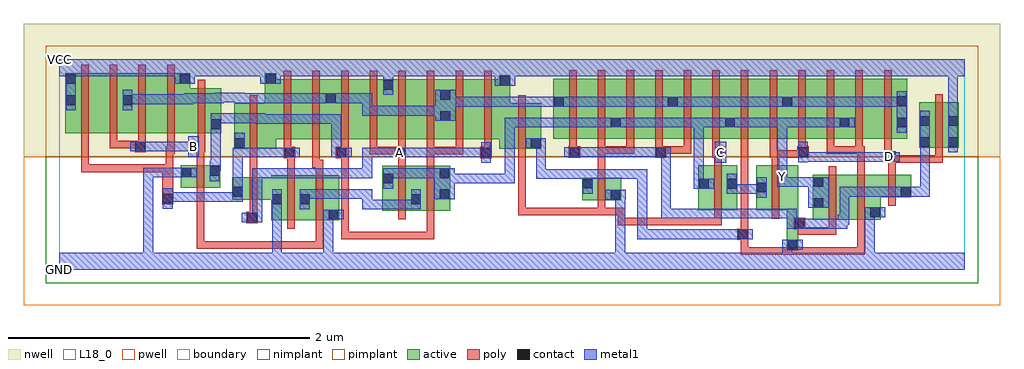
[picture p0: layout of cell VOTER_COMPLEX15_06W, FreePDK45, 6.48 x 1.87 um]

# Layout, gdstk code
import gdstk
lib = gdstk.Library(unit=1e-6, precision=1e-09)
def R(c, l, rs):  # rectangles x0, y0, x1, y1
    for r in rs: c.add(gdstk.rectangle(r[:2], r[2:], *l))
def A(c, l, x, y, w, h, nx, ny, dx, dy):  # array of equal rectangles
    R(c, l, [(x+i*dx, y+j*dy, x+i*dx+w, y+j*dy+h) for i in range(nx) for j in range(ny)])
active = (1, 0)
pwell = (2, 0)
nwell = (3, 0)
nimplant = (4, 0)
pimplant = (5, 0)
poly = (9, 0)
contact = (10, 0)
metal1 = (11, 0)
L18_0 = (18, 0)
boundary = (235, 0)

voter_complex15_06w = lib.new_cell('VOTER_COMPLEX15_06W')
A(voter_complex15_06w, active, 1.61, 0.867, 0.23, 0.4, 3, 1, 0.38, 0)
A(voter_complex15_06w, active, 1.765, 0.867, 0.225, 0.4, 3, 1, 0.38, 0)
A(voter_complex15_06w, active, 3.885, 0.87, 0.225, 0.4, 5, 1, 0.38, 0)
A(voter_complex15_06w, active, 4.035, 0.87, 0.075, 0.33, 3, 1, 0.76, 0)
A(voter_complex15_06w, active, 4.035, 0.87, 0.23, 0.4, 4, 1, 0.38, 0)
R(voter_complex15_06w, active, [(4.83,0.13,4.905,0.535), (1.407,0.33,1.667,0.63), (1.592,0.33,1.857,0.63), (1.592,0.33,1.667,0.507), (1.782,0.33,1.857,0.437), (5.002,0.332,5.227,0.632), (5.002,0.332,5.077,0.632), (5.227,0.332,5.452,0.632), (5.377,0.34,5.452,0.482), (2.145,0.392,2.405,0.692), (2.33,0.392,2.595,0.692), (1.407,0.395,1.482,0.597), (2.145,0.395,2.22,0.692), (2.33,0.395,2.405,0.597), (2.52,0.395,2.595,0.692), (4.242,0.395,4.317,0.695), (4.242,0.395,4.502,0.695), (4.427,0.395,4.502,0.695), (4.625,0.395,4.7,0.695), (4.625,0.395,4.905,0.695), (3.47,0.462,3.545,0.612), (3.47,0.462,3.73,0.612), (3.655,0.462,3.73,0.537), (1.147,0.465,1.482,0.615), (1.147,0.482,1.222,0.615), (5.377,0.482,5.657,0.632), (5.582,0.482,5.657,0.632), (0.807,0.545,0.882,0.695), (0.807,0.545,1.067,0.695), (0.992,0.545,1.067,0.695), (1.16,0.805,1.44,1.105), (1.16,0.805,1.235,0.917), (2.92,0.805,3.2,1.105), (3.125,0.805,3.2,0.917), (5.71,0.812,5.785,1.112), (5.71,0.812,5.97,1.112), (5.895,0.812,5.97,1.112), (1.365,0.867,1.61,1.267), (1.765,0.867,1.84,1.2), (2.525,0.867,2.6,1.2), (2.75,0.867,2.995,1.267), (3.28,0.87,3.505,1.27), (3.505,0.87,3.732,1.27), (3.657,0.87,3.732,1.07), (3.657,0.87,3.885,1.27), (4.415,0.87,4.49,1.07), (5.175,0.87,5.25,1.07), (0.04,0.907,0.265,1.307), (0.04,0.907,0.115,1.307), (0.265,0.907,0.49,1.307), (0.415,0.907,0.645,1.307), (0.415,0.907,0.49,1.2), (0.645,0.907,0.87,1.307), (0.795,0.907,1.075,1.207), (0.795,0.907,0.87,1.307), (1.365,0.907,1.44,1.307), (2.145,0.907,2.22,1.267), (2.92,0.907,2.995,1.292), (3.28,0.907,3.385,1.2), (1,0.93,1.075,1.07)])
R(voter_complex15_06w, pwell, [(-0.235,-0.235,6.245,0.75)])
R(voter_complex15_06w, nwell, [(-0.235,0.75,6.245,1.635)])
R(voter_complex15_06w, nimplant, [(-0.09,-0.09,6.1,0.75)])
R(voter_complex15_06w, pimplant, [(-0.09,0.75,6.1,1.49)])
A(voter_complex15_06w, poly, 1.87, 0.767, 0.05, 0.095, 6, 1, 0.19, 0)
A(voter_complex15_06w, poly, 3.385, 0.77, 0.05, 0.095, 6, 1, 0.19, 0)
A(voter_complex15_06w, poly, 4.905, 0.77, 0.05, 0.095, 3, 1, 0.19, 0)
A(voter_complex15_06w, poly, 1.49, 0.812, 0.05, 0.51, 8, 1, 0.19, 0)
A(voter_complex15_06w, poly, 3.385, 0.815, 0.05, 0.51, 12, 1, 0.19, 0)
A(voter_complex15_06w, poly, 0.145, 0.852, 0.05, 0.51, 4, 1, 0.19, 0)
R(voter_complex15_06w, poly, [(4.525,0.1,4.575,0.15), (4.525,0.1,4.575,0.15), (4.525,0.1,4.575,0.15), (4.525,0.1,4.575,0.15), (4.525,0.1,4.575,0.15), (4.525,0.1,4.795,0.15), (4.525,0.1,4.575,0.25), (4.745,0.1,4.795,0.15), (4.745,0.1,4.94,0.15), (4.89,0.1,4.94,0.15), (4.89,0.1,4.94,0.15), (4.89,0.1,4.94,0.15), (4.89,0.1,5.085,0.15), (5.035,0.1,5.085,0.15), (5.035,0.1,5.085,0.15), (5.035,0.1,5.085,0.15), (5.035,0.1,5.347,0.15), (5.297,0.1,5.347,0.15), (5.297,0.1,5.347,0.15), (5.297,0.1,5.347,0.15), (5.297,0.1,5.347,0.15), (5.297,0.1,5.347,0.15), (5.297,0.1,5.347,0.327), (0.912,0.142,0.962,0.192), (0.912,0.142,0.962,0.192), (0.912,0.142,0.962,0.192), (0.912,0.142,1.16,0.192), (0.912,0.142,0.962,0.54), (1.11,0.142,1.16,0.192), (1.11,0.142,1.16,0.192), (1.11,0.142,1.16,0.192), (1.11,0.142,1.16,0.192), (1.11,0.142,1.16,0.192), (1.11,0.142,1.567,0.192), (1.517,0.142,1.567,0.192), (1.517,0.142,1.567,0.192), (1.517,0.142,1.567,0.192), (1.517,0.142,1.752,0.192), (1.702,0.142,1.752,0.192), (1.702,0.142,1.752,0.192), (1.702,0.142,1.752,0.192), (1.702,0.142,1.752,0.325), (4.5,0.2,4.575,0.275), (1.87,0.205,1.92,0.255), (1.87,0.205,1.92,0.255), (1.87,0.205,1.92,0.255), (1.87,0.205,1.92,0.255), (1.87,0.205,1.92,0.255), (1.87,0.205,1.92,0.255), (1.87,0.205,1.92,0.255), (1.87,0.205,1.92,0.255), (1.87,0.205,1.92,0.255), (1.87,0.205,2.14,0.255), (1.87,0.205,1.92,0.792), (2.09,0.205,2.14,0.255), (2.09,0.205,2.14,0.255), (2.09,0.205,2.14,0.255), (2.09,0.205,2.357,0.255), (2.307,0.205,2.357,0.255), (2.307,0.205,2.357,0.255), (2.307,0.205,2.357,0.255), (2.307,0.205,2.49,0.255), (2.44,0.205,2.49,0.255), (2.44,0.205,2.49,0.387), (4.525,0.225,4.575,0.275), (4.525,0.225,4.575,0.275), (4.525,0.225,4.575,0.275), (4.525,0.225,4.575,0.275), (4.525,0.225,4.575,0.275), (4.525,0.225,4.575,0.275), (4.525,0.225,4.575,0.865), (4.902,0.232,4.952,0.282), (4.902,0.232,5.157,0.282), (4.902,0.232,4.952,0.32), (5.107,0.232,5.157,0.327), (5.107,0.232,5.157,0.282), (5.107,0.232,5.157,0.282), (5.107,0.232,5.157,0.282), (4.877,0.27,4.952,0.345), (4.902,0.27,4.952,0.32), (4.902,0.27,4.952,0.32), (1.512,0.275,1.562,0.685), (1.702,0.275,1.752,0.685), (5.107,0.277,5.157,0.687), (5.297,0.277,5.347,0.687), (3.707,0.295,3.757,0.345), (3.707,0.295,3.757,0.345), (3.707,0.295,3.757,0.345), (3.707,0.295,3.89,0.345), (3.707,0.295,3.757,0.412), (3.84,0.295,3.89,0.345), (3.84,0.295,4.162,0.345), (4.112,0.295,4.162,0.345), (4.112,0.295,4.162,0.345), (4.112,0.295,4.162,0.345), (4.112,0.295,4.397,0.345), (4.347,0.295,4.397,0.39), (4.347,0.295,4.397,0.345), (4.347,0.295,4.397,0.345), (4.347,0.295,4.397,0.345), (1.242,0.31,1.317,0.385), (1.265,0.335,1.315,0.46), (2.25,0.337,2.3,0.747), (2.44,0.337,2.49,0.747), (4.347,0.34,4.397,0.75), (4.73,0.34,4.78,0.75), (3.045,0.362,3.095,0.412), (3.045,0.362,3.095,0.412), (3.045,0.362,3.095,0.412), (3.045,0.362,3.095,0.412), (3.045,0.362,3.095,0.412), (3.045,0.362,3.095,0.412), (3.045,0.362,3.095,0.412), (3.045,0.362,3.227,0.412), (3.045,0.362,3.095,0.8), (3.177,0.362,3.227,0.412), (3.177,0.362,3.227,0.412), (3.177,0.362,3.227,0.412), (3.177,0.362,3.227,0.412), (3.177,0.362,3.227,0.412), (3.177,0.362,3.36,0.412), (3.31,0.362,3.36,0.412), (3.31,0.362,3.625,0.412), (3.575,0.362,3.625,0.457), (3.575,0.362,3.625,0.412), (3.575,0.362,3.625,0.412), (3.575,0.362,3.625,0.412), (3.575,0.362,3.757,0.412), (3.707,0.362,3.757,0.412), (3.575,0.407,3.625,0.667), (1.265,0.41,1.315,0.67), (5.502,0.427,5.552,0.687), (0.682,0.437,0.757,0.7), (0.912,0.49,0.962,0.75), (3.575,0.617,3.625,0.82), (1.265,0.62,1.315,0.755), (1.512,0.635,1.562,0.792), (1.702,0.635,1.752,0.73), (5.297,0.637,5.347,0.82), (5.502,0.637,5.552,0.762), (0.145,0.65,0.195,0.7), (0.145,0.65,0.195,0.7), (0.145,0.65,0.195,0.7), (0.145,0.65,0.195,0.7), (0.145,0.65,0.195,0.7), (0.145,0.65,0.195,0.7), (0.145,0.65,0.195,0.7), (0.145,0.65,0.385,0.7), (0.145,0.65,0.195,0.902), (0.335,0.65,0.385,0.7), (0.335,0.65,0.385,0.7), (0.335,0.65,0.385,0.7), (0.335,0.65,0.517,0.7), (0.467,0.65,0.517,0.7), (0.467,0.65,0.732,0.7), (0.682,0.65,0.732,0.7), (0.682,0.65,0.732,0.7), (0.707,0.65,0.757,0.7), (0.707,0.65,0.757,0.7), (0.707,0.65,0.757,0.817), (1.68,0.68,1.73,0.862), (1.68,0.68,1.752,0.73), (2.25,0.697,2.3,0.792), (2.44,0.697,2.49,0.817), (0.912,0.7,0.962,0.832), (4.347,0.7,4.397,0.795), (4.73,0.7,4.78,0.795), (1.265,0.705,1.315,0.8), (1.265,0.705,1.315,0.755), (5.475,0.712,5.552,0.787), (5.502,0.712,5.552,0.762), (5.502,0.712,5.552,0.762), (5.502,0.712,5.865,0.762), (5.815,0.712,5.865,0.807), (5.815,0.712,5.865,0.762), (5.815,0.712,5.865,0.762), (5.815,0.712,5.865,0.762), (5.475,0.737,5.525,0.865), (1.49,0.742,1.565,0.817), (1.835,0.742,1.92,0.817), (2.222,0.742,2.3,0.817), (2.795,0.742,2.87,0.817), (3.382,0.745,3.457,0.82), (3.955,0.745,4.03,0.82), (4.335,0.745,4.42,0.82), (4.715,0.745,4.765,0.865), (4.715,0.745,4.78,0.795), (4.73,0.745,4.78,0.795), (4.73,0.745,4.78,0.795), (4.73,0.745,4.95,0.795), (4.9,0.745,4.975,0.82), (1.265,0.75,1.315,1.16), (3.045,0.75,3.095,1.16), (5.815,0.757,5.865,1.167), (0.707,0.767,0.765,0.817), (0.715,0.767,0.765,0.902), (1.49,0.767,1.54,0.862), (2.06,0.767,2.11,0.817), (2.06,0.767,2.11,0.817), (2.06,0.767,2.11,0.817), (2.06,0.767,2.272,0.817), (2.44,0.767,2.49,0.817), (2.44,0.767,2.49,0.817), (2.44,0.767,2.49,0.817), (2.44,0.767,2.68,0.817), (2.63,0.767,2.68,0.817), (3.575,0.77,3.625,0.82), (3.575,0.77,3.625,0.82), (3.575,0.77,3.625,0.82), (3.575,0.77,3.815,0.82), (3.765,0.77,3.815,0.82), (3.98,0.77,4.03,0.82), (3.98,0.77,4.03,0.82), (3.98,0.77,4.195,0.82), (4.145,0.77,4.195,0.82), (5.095,0.77,5.145,0.82), (5.095,0.77,5.335,0.82), (5.285,0.77,5.335,0.82), (5.285,0.77,5.335,0.82), (5.285,0.77,5.347,0.82), (0.5,0.782,0.575,0.857), (0.855,0.782,0.97,0.857), (0.335,0.807,0.385,0.902), (0.335,0.807,0.385,0.857), (0.335,0.807,0.55,0.857), (0.5,0.807,0.55,0.857), (0.5,0.807,0.55,0.857), (0.525,0.807,0.575,0.902), (0.92,0.807,0.97,0.902), (0.92,0.852,0.97,1.262)])
R(voter_complex15_06w, contact, [(4.835,0.135,4.9,0.2), (4.505,0.205,4.57,0.27), (4.882,0.275,4.947,0.34), (1.247,0.315,1.312,0.38), (1.787,0.335,1.852,0.4), (5.382,0.35,5.447,0.415), (5.007,0.412,5.072,0.477), (1.412,0.437,1.477,0.502), (1.597,0.437,1.662,0.502), (2.335,0.437,2.4,0.502), (0.687,0.442,0.752,0.507), (3.66,0.467,3.725,0.532), (2.525,0.47,2.59,0.535), (1.152,0.487,1.217,0.552), (5.587,0.487,5.652,0.552), (4.63,0.515,4.695,0.58), (4.247,0.54,4.312,0.605), (4.432,0.54,4.497,0.605), (3.475,0.542,3.54,0.607), (5.007,0.552,5.072,0.617), (2.15,0.575,2.215,0.64), (2.525,0.61,2.59,0.675), (0.812,0.615,0.877,0.68), (0.997,0.625,1.062,0.69), (5.48,0.717,5.545,0.782), (1.495,0.747,1.56,0.812), (1.84,0.747,1.905,0.812), (2.227,0.747,2.292,0.812), (2.8,0.747,2.865,0.812), (3.387,0.75,3.452,0.815), (3.96,0.75,4.025,0.815), (4.35,0.75,4.415,0.815), (4.905,0.75,4.97,0.815), (0.505,0.787,0.57,0.852), (0.86,0.787,0.925,0.852), (1.165,0.81,1.23,0.875), (3.13,0.81,3.195,0.875), (5.715,0.817,5.78,0.882), (5.9,0.817,5.965,0.882), (1.005,0.935,1.07,1), (3.662,0.947,3.727,1.012), (4.42,0.947,4.485,1.012), (5.18,0.947,5.245,1.012), (5.56,0.947,5.625,1.012), (5.715,0.957,5.78,1.022), (5.9,0.957,5.965,1.022), (2.53,0.99,2.595,1.055), (3.285,1.085,3.35,1.15), (4.04,1.085,4.105,1.15), (4.8,1.085,4.865,1.15), (5.56,1.087,5.625,1.152), (0.045,1.095,0.11,1.16), (0.42,1.095,0.485,1.16), (1.77,1.107,1.835,1.172), (2.53,1.13,2.595,1.195), (2.15,1.197,2.215,1.262), (2.925,1.222,2.99,1.287), (0.045,1.235,0.11,1.3), (0.8,1.237,0.865,1.302), (1.37,1.237,1.435,1.302)])
R(voter_complex15_06w, metal1, [(0,0,6.01,0.115), (0.557,0.05,0.622,0.115), (0.557,0.05,0.622,0.115), (0.557,0.05,0.622,0.115), (0.557,0.05,0.622,0.115), (0.557,0.05,0.622,0.115), (0.557,0.05,0.622,0.115), (0.557,0.05,0.622,0.68), (1.412,0.05,1.477,0.115), (1.412,0.05,1.477,0.115), (1.412,0.05,1.477,0.115), (1.412,0.05,1.477,0.115), (1.412,0.05,1.477,0.467), (1.752,0.05,1.817,0.115), (1.752,0.05,1.817,0.115), (1.752,0.05,1.817,0.115), (1.752,0.05,1.817,0.115), (1.752,0.05,1.817,0.4), (3.692,0.05,3.757,0.115), (3.692,0.05,3.757,0.115), (3.692,0.05,3.757,0.532), (4.8,0.05,4.865,0.115), (4.8,0.05,4.865,0.115), (4.8,0.05,4.865,0.2), (5.347,0.05,5.412,0.115), (5.347,0.05,5.412,0.115), (5.347,0.05,5.412,0.115), (5.347,0.05,5.412,0.115), (5.347,0.05,5.412,0.415), (4.8,0.135,4.865,0.2), (4.8,0.135,4.865,0.2), (4.8,0.135,4.935,0.2), (3.837,0.205,3.902,0.27), (3.837,0.205,3.902,0.27), (3.837,0.205,3.902,0.27), (3.837,0.205,3.902,0.27), (3.837,0.205,3.902,0.27), (3.837,0.205,4.14,0.27), (3.837,0.205,3.902,0.67), (4.075,0.205,4.14,0.27), (4.075,0.205,4.197,0.27), (4.132,0.205,4.197,0.27), (4.132,0.205,4.312,0.27), (4.247,0.205,4.312,0.27), (4.247,0.205,4.347,0.27), (4.282,0.205,4.347,0.27), (4.282,0.205,4.535,0.27), (4.47,0.205,4.535,0.27), (4.47,0.205,4.535,0.27), (4.47,0.205,4.605,0.27), (4.83,0.275,4.912,0.34), (4.83,0.275,4.895,0.407), (4.847,0.275,4.982,0.34), (4.917,0.275,5.037,0.34), (4.972,0.275,5.037,0.34), (4.972,0.275,5.232,0.34), (5.167,0.275,5.232,0.365), (5.167,0.3,5.245,0.365), (5.18,0.3,5.245,0.552), (1.212,0.315,1.347,0.38), (1.282,0.315,1.347,0.675), (1.752,0.335,1.887,0.4), (3.995,0.342,4.06,0.407), (3.995,0.342,4.197,0.407), (3.995,0.342,4.06,0.815), (4.132,0.342,4.197,0.407), (4.132,0.342,4.312,0.407), (4.247,0.342,4.312,0.407), (4.247,0.342,4.347,0.407), (4.282,0.342,4.347,0.407), (4.282,0.342,4.51,0.407), (4.445,0.342,4.51,0.407), (4.445,0.342,4.51,0.407), (4.445,0.342,4.51,0.407), (4.445,0.342,4.692,0.407), (4.627,0.342,4.692,0.407), (4.627,0.342,4.692,0.407), (4.627,0.342,4.692,0.407), (4.627,0.342,4.895,0.407), (5.347,0.35,5.482,0.415), (1.412,0.402,1.477,0.537), (1.597,0.402,1.662,0.537), (2.012,0.402,2.077,0.467), (2.012,0.402,2.077,0.467), (2.012,0.402,2.077,0.537), (2.012,0.402,2.262,0.467), (2.197,0.402,2.262,0.467), (2.197,0.402,2.262,0.467), (2.197,0.402,2.262,0.467), (2.197,0.402,2.4,0.467), (2.335,0.402,2.4,0.537), (0.687,0.407,0.752,0.542), (4.972,0.412,5.107,0.617), (0.687,0.452,0.89,0.517), (0.825,0.452,0.89,0.517), (0.825,0.452,0.89,0.517), (0.825,0.452,0.89,0.517), (0.825,0.452,1.06,0.517), (0.995,0.452,1.06,0.517), (0.995,0.452,1.217,0.517), (1.152,0.452,1.217,0.587), (3.625,0.467,3.76,0.532), (3.692,0.467,3.757,0.532), (3.692,0.467,3.757,0.532), (3.692,0.467,3.757,0.532), (3.692,0.467,3.757,0.532), (2.49,0.47,2.625,0.675), (1.597,0.472,1.715,0.537), (1.65,0.472,1.715,0.537), (1.65,0.472,1.94,0.537), (1.875,0.472,1.94,0.537), (1.875,0.472,1.94,0.537), (1.875,0.472,1.94,0.537), (1.875,0.472,2.077,0.537), (4.63,0.48,4.695,0.615), (5.18,0.487,5.37,0.552), (5.305,0.487,5.37,0.552), (5.305,0.487,5.407,0.552), (5.342,0.487,5.407,0.552), (5.342,0.487,5.617,0.552), (5.552,0.487,5.617,0.552), (5.552,0.487,5.617,0.552), (5.552,0.487,5.687,0.552), (5.622,0.487,5.78,0.552), (5.715,0.487,5.78,0.552), (5.715,0.487,5.78,0.552), (5.715,0.487,5.78,0.552), (5.715,0.487,5.78,0.552), (5.715,0.487,5.78,0.552), (5.715,0.487,5.78,0.847), (4.432,0.505,4.497,0.57), (4.432,0.505,4.497,0.57), (4.432,0.505,4.497,0.64), (4.432,0.505,4.695,0.57), (3.475,0.507,3.54,0.67), (1.152,0.522,1.217,0.812), (2.15,0.54,2.215,0.675), (4.212,0.54,4.277,0.605), (4.212,0.54,4.277,0.605), (4.212,0.54,4.347,0.605), (4.212,0.54,4.277,1.012), (4.767,0.552,4.832,0.617), (4.767,0.552,4.832,0.617), (4.767,0.552,5.037,0.617), (4.767,0.552,4.832,0.687), (4.972,0.552,5.037,0.617), (4.972,0.552,5.037,0.617), (2.56,0.575,2.625,0.64), (2.56,0.575,2.625,0.64), (2.56,0.575,2.817,0.64), (2.752,0.575,2.817,0.64), (2.752,0.575,2.817,0.64), (2.752,0.575,2.817,0.64), (2.752,0.575,3.022,0.64), (2.957,0.575,3.022,0.64), (2.957,0.575,3.022,0.64), (2.957,0.575,3.022,0.64), (2.957,0.575,3.022,1.012), (0.997,0.59,1.062,0.725), (3.165,0.605,3.23,0.67), (3.165,0.605,3.367,0.67), (3.165,0.605,3.23,0.875), (3.302,0.605,3.367,0.67), (3.302,0.605,3.54,0.67), (3.475,0.605,3.625,0.67), (3.56,0.605,3.625,0.67), (3.56,0.605,3.762,0.67), (3.697,0.605,3.762,0.67), (3.697,0.605,3.762,0.67), (3.697,0.605,3.762,0.67), (3.697,0.605,3.902,0.67), (3.837,0.605,3.902,0.67), (1.282,0.61,1.347,0.675), (1.282,0.61,1.505,0.675), (1.44,0.61,1.505,0.675), (1.44,0.61,1.505,0.675), (1.44,0.61,1.505,0.675), (1.44,0.61,1.505,0.675), (1.44,0.61,1.505,0.675), (1.44,0.61,1.662,0.675), (1.597,0.61,1.662,0.675), (1.597,0.61,1.715,0.675), (1.65,0.61,1.715,0.675), (1.65,0.61,1.93,0.675), (1.865,0.61,1.93,0.675), (1.865,0.61,1.93,0.675), (1.865,0.61,1.93,0.675), (1.865,0.61,2.077,0.675), (2.012,0.61,2.077,0.675), (2.012,0.61,2.077,0.812), (2.15,0.61,2.215,0.675), (2.15,0.61,2.215,0.675), (2.15,0.61,2.417,0.675), (2.352,0.61,2.417,0.675), (2.352,0.61,2.485,0.675), (2.42,0.61,2.485,0.675), (2.42,0.61,2.555,0.675), (0.557,0.615,0.622,0.68), (0.557,0.615,0.622,0.68), (0.557,0.615,0.622,0.68), (0.557,0.615,0.742,0.68), (0.677,0.615,0.742,0.68), (0.677,0.615,0.842,0.68), (0.777,0.615,0.912,0.68), (4.767,0.622,4.832,1.012), (0.997,0.66,1.062,0.725), (0.997,0.66,1.07,0.725), (1.005,0.66,1.07,0.965), (2.8,0.712,2.865,0.847), (4.35,0.712,4.427,0.85), (4.905,0.715,4.97,0.85), (4.905,0.717,5.037,0.782), (4.972,0.717,5.037,0.782), (4.972,0.717,5.21,0.782), (5.145,0.717,5.21,0.782), (5.145,0.717,5.21,0.782), (5.145,0.717,5.21,0.782), (5.145,0.717,5.37,0.782), (5.305,0.717,5.37,0.782), (5.305,0.717,5.407,0.782), (5.342,0.717,5.407,0.782), (5.342,0.717,5.507,0.782), (5.442,0.717,5.58,0.782), (1.152,0.747,1.225,0.812), (1.16,0.747,1.225,0.812), (1.16,0.747,1.23,0.812), (1.165,0.747,1.23,0.812), (1.165,0.747,1.23,0.812), (1.165,0.747,1.525,0.812), (1.165,0.747,1.23,0.84), (1.46,0.747,1.525,0.812), (1.46,0.747,1.525,0.812), (1.46,0.747,1.595,0.812), (1.805,0.747,1.87,0.812), (1.805,0.747,1.87,0.812), (1.805,0.747,1.94,0.812), (1.805,0.747,1.87,1.035), (2.012,0.747,2.077,0.812), (2.012,0.747,2.077,0.812), (2.012,0.747,2.077,0.812), (2.012,0.747,2.257,0.812), (2.192,0.747,2.257,0.812), (2.192,0.747,2.257,0.812), (2.192,0.747,2.327,0.812), (2.262,0.747,2.4,0.812), (2.335,0.747,2.4,0.812), (2.335,0.747,2.467,0.812), (2.402,0.747,2.467,0.812), (2.402,0.747,2.68,0.812), (2.615,0.747,2.68,0.812), (2.615,0.747,2.68,0.812), (2.615,0.747,2.68,0.812), (2.615,0.747,2.817,0.812), (2.752,0.747,2.817,0.812), (2.752,0.747,2.865,0.812), (3.352,0.75,3.487,0.815), (3.422,0.75,3.522,0.815), (3.457,0.75,3.522,0.815), (3.457,0.75,3.625,0.815), (3.56,0.75,3.625,0.815), (3.56,0.75,3.765,0.815), (3.7,0.75,3.765,0.815), (3.7,0.75,3.765,0.815), (3.7,0.75,3.765,0.815), (3.7,0.75,3.922,0.815), (3.857,0.75,3.922,0.815), (3.857,0.75,3.99,0.815), (3.925,0.75,4.06,0.815), (3.995,0.75,4.06,0.815), (3.995,0.75,4.06,0.815), (3.995,0.75,4.06,0.815), (3.995,0.75,4.06,0.815), (0.857,0.752,0.925,0.887), (1.165,0.775,1.23,0.91), (5.715,0.782,5.78,1.057), (5.9,0.782,5.965,1.057), (0.47,0.787,0.605,0.852), (0.54,0.787,0.622,0.852), (0.557,0.787,0.622,0.852), (0.557,0.787,0.742,0.852), (0.677,0.787,0.742,0.852), (0.677,0.787,0.922,0.852), (0.857,0.787,0.922,0.852), (0.857,0.787,0.922,0.852), (3.095,0.81,3.23,0.875), (3.165,0.81,3.23,0.875), (3.165,0.81,3.23,0.875), (3.165,0.81,3.23,0.875), (3.165,0.81,3.23,0.875), (1.005,0.9,1.07,1.035), (5.56,0.912,5.625,1.187), (2.957,0.947,3.022,1.012), (2.957,0.947,3.022,1.012), (2.957,0.947,3.022,1.012), (2.957,0.947,3.022,1.012), (2.957,0.947,3.022,1.012), (2.957,0.947,3.23,1.012), (3.165,0.947,3.23,1.012), (3.165,0.947,3.367,1.012), (3.302,0.947,3.367,1.012), (3.302,0.947,3.367,1.012), (3.302,0.947,3.367,1.012), (3.302,0.947,3.522,1.012), (3.457,0.947,3.522,1.012), (3.457,0.947,3.625,1.012), (3.56,0.947,3.625,1.012), (3.56,0.947,3.692,1.012), (3.627,0.947,3.692,1.012), (3.627,0.947,3.692,1.012), (3.627,0.947,3.762,1.012), (3.697,0.947,3.762,1.012), (3.697,0.947,3.762,1.012), (3.697,0.947,3.902,1.012), (3.837,0.947,3.902,1.012), (3.837,0.947,3.902,1.012), (3.837,0.947,3.902,1.012), (3.837,0.947,4.06,1.012), (3.995,0.947,4.06,1.012), (3.995,0.947,4.197,1.012), (4.132,0.947,4.197,1.012), (4.132,0.947,4.277,1.012), (4.212,0.947,4.277,1.012), (4.212,0.947,4.347,1.012), (4.282,0.947,4.347,1.012), (4.282,0.947,4.45,1.012), (4.385,0.947,4.52,1.012), (4.455,0.947,4.52,1.012), (4.455,0.947,4.52,1.012), (4.455,0.947,4.692,1.012), (4.627,0.947,4.692,1.012), (4.627,0.947,4.692,1.012), (4.627,0.947,4.692,1.012), (4.627,0.947,4.832,1.012), (4.767,0.947,4.832,1.012), (4.767,0.947,4.832,1.012), (4.767,0.947,4.832,1.012), (4.767,0.947,5.037,1.012), (4.972,0.947,5.037,1.012), (4.972,0.947,5.21,1.012), (5.145,0.947,5.21,1.012), (5.145,0.947,5.21,1.012), (5.145,0.947,5.28,1.012), (1.005,0.97,1.07,1.035), (1.005,0.97,1.07,1.04), (1.302,0.97,1.367,1.035), (1.302,0.97,1.367,1.035), (1.302,0.97,1.565,1.035), (1.302,0.97,1.367,1.04), (1.5,0.97,1.565,1.035), (1.5,0.97,1.662,1.035), (1.597,0.97,1.662,1.035), (1.597,0.97,1.715,1.035), (1.65,0.97,1.715,1.035), (1.65,0.97,1.87,1.035), (1.805,0.97,1.87,1.035), (1.805,0.97,1.87,1.035), (1.805,0.97,1.87,1.035), (1.005,0.975,1.07,1.04), (1.005,0.975,1.07,1.04), (1.005,0.975,1.367,1.04), (2.495,0.99,2.63,1.195), (5.9,0.992,5.965,1.35), (2.012,1.025,2.077,1.09), (2.012,1.025,2.077,1.09), (2.012,1.025,2.262,1.09), (2.012,1.025,2.077,1.172), (2.197,1.025,2.262,1.09), (2.197,1.025,2.262,1.09), (2.197,1.025,2.262,1.09), (2.197,1.025,2.415,1.09), (2.35,1.025,2.415,1.09), (2.35,1.025,2.467,1.09), (2.402,1.025,2.467,1.09), (2.402,1.025,2.56,1.09), (0.045,1.06,0.11,1.335), (0.42,1.06,0.485,1.195), (2.565,1.085,2.63,1.15), (2.565,1.085,2.63,1.15), (2.565,1.085,2.817,1.15), (2.752,1.085,2.817,1.15), (2.752,1.085,2.817,1.15), (2.752,1.085,2.817,1.15), (2.752,1.085,3.022,1.15), (2.957,1.085,3.022,1.15), (2.957,1.085,3.022,1.15), (2.957,1.085,3.022,1.15), (2.957,1.085,3.23,1.15), (3.165,1.085,3.23,1.15), (3.165,1.085,3.315,1.15), (3.25,1.085,3.385,1.15), (3.32,1.085,3.385,1.15), (3.32,1.085,3.385,1.15), (3.32,1.085,3.522,1.15), (3.457,1.085,3.522,1.15), (3.457,1.085,3.625,1.15), (3.56,1.085,3.625,1.15), (3.56,1.085,3.765,1.15), (3.7,1.085,3.765,1.15), (3.7,1.085,3.765,1.15), (3.7,1.085,3.765,1.15), (3.7,1.085,3.922,1.15), (3.857,1.085,3.922,1.15), (3.857,1.085,3.922,1.15), (3.857,1.085,3.922,1.15), (3.857,1.085,4.07,1.15), (4.005,1.085,4.14,1.15), (4.075,1.085,4.197,1.15), (4.132,1.085,4.197,1.15), (4.132,1.085,4.295,1.15), (4.23,1.085,4.295,1.15), (4.23,1.085,4.347,1.15), (4.282,1.085,4.347,1.15), (4.282,1.085,4.53,1.15), (4.465,1.085,4.53,1.15), (4.465,1.085,4.53,1.15), (4.465,1.085,4.53,1.15), (4.465,1.085,4.692,1.15), (4.627,1.085,4.692,1.15), (4.627,1.085,4.692,1.15), (4.627,1.085,4.692,1.15), (4.627,1.085,4.83,1.15), (4.765,1.085,4.9,1.15), (4.835,1.085,5.072,1.15), (5.007,1.085,5.072,1.15), (5.007,1.085,5.072,1.15), (5.007,1.085,5.072,1.15), (5.007,1.085,5.21,1.15), (5.145,1.085,5.21,1.15), (5.145,1.085,5.21,1.15), (5.145,1.085,5.21,1.15), (5.145,1.085,5.37,1.15), (5.305,1.085,5.37,1.15), (5.305,1.085,5.407,1.15), (5.342,1.085,5.407,1.15), (5.342,1.085,5.625,1.15), (5.56,1.085,5.625,1.15), (5.56,1.085,5.625,1.15), (0.42,1.1,0.485,1.165), (0.42,1.1,0.485,1.165), (0.42,1.1,0.622,1.165), (0.557,1.1,0.622,1.165), (0.557,1.1,0.742,1.165), (0.677,1.1,0.742,1.165), (0.677,1.1,0.89,1.165), (0.825,1.1,0.89,1.165), (0.825,1.1,0.89,1.165), (0.825,1.1,0.89,1.172), (0.825,1.107,1.092,1.172), (1.027,1.107,1.092,1.177), (1.165,1.107,1.525,1.172), (1.165,1.107,1.23,1.177), (1.46,1.107,1.525,1.172), (1.46,1.107,1.577,1.172), (1.512,1.107,1.577,1.172), (1.512,1.107,1.662,1.172), (1.597,1.107,1.662,1.172), (1.597,1.107,1.715,1.172), (1.65,1.107,1.715,1.172), (1.65,1.107,1.8,1.172), (1.735,1.107,1.87,1.172), (1.805,1.107,1.87,1.172), (1.805,1.107,1.87,1.172), (1.805,1.107,2.077,1.172), (1.027,1.112,1.092,1.177), (1.027,1.112,1.092,1.177), (1.027,1.112,1.23,1.177), (2.15,1.162,2.215,1.297), (2.89,1.222,3.025,1.287), (2.96,1.222,3.025,1.35), (2.15,1.232,2.215,1.35), (0.765,1.237,0.9,1.302), (0.835,1.237,0.9,1.35), (1.335,1.237,1.47,1.302), (1.405,1.237,1.47,1.35), (0.045,1.27,0.11,1.35), (0,1.285,6.01,1.4), (5.9,1.285,5.965,1.35), (5.9,1.285,5.965,1.35)])
R(voter_complex15_06w, L18_0, [(0,0,6.01,0.115), (0.557,0.05,0.622,0.115), (0.557,0.05,0.622,0.115), (0.557,0.05,0.622,0.115), (0.557,0.05,0.622,0.115), (0.557,0.05,0.622,0.115), (0.557,0.05,0.622,0.115), (0.557,0.05,0.622,0.68), (1.412,0.05,1.477,0.115), (1.412,0.05,1.477,0.115), (1.412,0.05,1.477,0.115), (1.412,0.05,1.477,0.115), (1.412,0.05,1.477,0.467), (1.752,0.05,1.817,0.115), (1.752,0.05,1.817,0.115), (1.752,0.05,1.817,0.115), (1.752,0.05,1.817,0.115), (1.752,0.05,1.817,0.4), (3.692,0.05,3.757,0.115), (3.692,0.05,3.757,0.115), (3.692,0.05,3.757,0.532), (4.8,0.05,4.865,0.115), (4.8,0.05,4.865,0.115), (4.8,0.05,4.865,0.2), (5.347,0.05,5.412,0.115), (5.347,0.05,5.412,0.115), (5.347,0.05,5.412,0.115), (5.347,0.05,5.412,0.115), (5.347,0.05,5.412,0.415), (4.8,0.135,4.935,0.2), (4.8,0.135,4.865,0.2), (4.8,0.135,4.865,0.2), (1.212,0.315,1.347,0.38), (1.282,0.315,1.347,0.675), (1.752,0.335,1.887,0.4), (5.347,0.35,5.482,0.415), (1.412,0.402,1.477,0.537), (4.972,0.412,5.107,0.617), (3.625,0.467,3.76,0.532), (3.692,0.467,3.757,0.532), (3.692,0.467,3.757,0.532), (3.692,0.467,3.757,0.532), (3.692,0.467,3.757,0.532), (2.49,0.47,2.625,0.675), (2.15,0.54,2.215,0.675), (4.212,0.54,4.347,0.605), (4.212,0.54,4.277,0.605), (4.212,0.54,4.277,0.605), (4.212,0.54,4.277,1.012), (4.767,0.552,4.832,0.617), (4.767,0.552,4.832,0.617), (4.767,0.552,4.832,0.687), (4.767,0.552,5.037,0.617), (4.972,0.552,5.037,0.617), (4.972,0.552,5.037,0.617), (2.56,0.575,2.625,0.64), (2.56,0.575,2.625,0.64), (2.56,0.575,2.817,0.64), (2.752,0.575,2.817,0.64), (2.752,0.575,2.817,0.64), (2.752,0.575,2.817,0.64), (2.752,0.575,3.022,0.64), (2.957,0.575,3.022,0.64), (2.957,0.575,3.022,0.64), (2.957,0.575,3.022,0.64), (2.957,0.575,3.022,1.012), (4.767,0.587,4.832,0.652), (1.282,0.61,1.347,0.675), (1.282,0.61,1.505,0.675), (1.44,0.61,1.505,0.675), (1.44,0.61,1.505,0.675), (1.44,0.61,1.505,0.675), (1.44,0.61,1.505,0.675), (1.44,0.61,1.505,0.675), (1.44,0.61,1.662,0.675), (1.597,0.61,1.662,0.675), (1.597,0.61,1.715,0.675), (1.65,0.61,1.715,0.675), (1.65,0.61,1.93,0.675), (1.865,0.61,1.93,0.675), (1.865,0.61,1.93,0.675), (1.865,0.61,1.93,0.675), (1.865,0.61,2.077,0.675), (2.012,0.61,2.077,0.675), (2.012,0.61,2.077,0.812), (2.15,0.61,2.215,0.675), (2.15,0.61,2.215,0.675), (2.15,0.61,2.417,0.675), (2.352,0.61,2.417,0.675), (2.352,0.61,2.485,0.675), (2.42,0.61,2.555,0.675), (2.42,0.61,2.485,0.675), (0.557,0.615,0.622,0.68), (0.557,0.615,0.622,0.68), (0.557,0.615,0.622,0.68), (0.557,0.615,0.742,0.68), (0.677,0.615,0.742,0.68), (0.677,0.615,0.842,0.68), (0.777,0.615,0.912,0.68), (4.767,0.622,4.832,1.012), (2.8,0.712,2.865,0.847), (4.35,0.712,4.427,0.85), (4.905,0.715,4.97,0.85), (4.905,0.717,5.037,0.782), (4.972,0.717,5.037,0.782), (4.972,0.717,5.21,0.782), (5.145,0.717,5.21,0.782), (5.145,0.717,5.21,0.782), (5.145,0.717,5.21,0.782), (5.145,0.717,5.37,0.782), (5.305,0.717,5.37,0.782), (5.305,0.717,5.407,0.782), (5.342,0.717,5.407,0.782), (5.342,0.717,5.507,0.782), (5.442,0.717,5.58,0.782), (5.477,0.717,5.542,0.782), (2.012,0.747,2.077,0.812), (2.012,0.747,2.077,0.812), (2.012,0.747,2.077,0.812), (2.012,0.747,2.257,0.812), (2.192,0.747,2.327,0.812), (2.192,0.747,2.257,0.812), (2.192,0.747,2.257,0.812), (2.227,0.747,2.292,0.812), (2.262,0.747,2.4,0.812), (2.335,0.747,2.4,0.812), (2.335,0.747,2.467,0.812), (2.402,0.747,2.467,0.812), (2.402,0.747,2.68,0.812), (2.615,0.747,2.68,0.812), (2.615,0.747,2.68,0.812), (2.615,0.747,2.68,0.812), (2.615,0.747,2.817,0.812), (2.752,0.747,2.817,0.812), (2.752,0.747,2.865,0.812), (4.357,0.747,4.422,0.812), (0.857,0.752,0.925,0.887), (5.9,0.782,5.965,1.057), (0.47,0.787,0.605,0.852), (0.54,0.787,0.622,0.852), (0.557,0.787,0.622,0.852), (0.557,0.787,0.742,0.852), (0.677,0.787,0.742,0.852), (0.677,0.787,0.922,0.852), (0.857,0.787,0.922,0.852), (0.857,0.787,0.922,0.852), (0.857,0.787,0.922,0.852), (2.957,0.947,3.022,1.012), (2.957,0.947,3.022,1.012), (2.957,0.947,3.022,1.012), (2.957,0.947,3.022,1.012), (2.957,0.947,3.022,1.012), (2.957,0.947,3.23,1.012), (3.165,0.947,3.23,1.012), (3.165,0.947,3.367,1.012), (3.302,0.947,3.367,1.012), (3.302,0.947,3.367,1.012), (3.302,0.947,3.367,1.012), (3.302,0.947,3.522,1.012), (3.457,0.947,3.522,1.012), (3.457,0.947,3.625,1.012), (3.56,0.947,3.625,1.012), (3.56,0.947,3.692,1.012), (3.627,0.947,3.762,1.012), (3.627,0.947,3.692,1.012), (3.627,0.947,3.692,1.012), (3.697,0.947,3.762,1.012), (3.697,0.947,3.762,1.012), (3.697,0.947,3.902,1.012), (3.837,0.947,3.902,1.012), (3.837,0.947,3.902,1.012), (3.837,0.947,3.902,1.012), (3.837,0.947,4.06,1.012), (3.995,0.947,4.06,1.012), (3.995,0.947,4.197,1.012), (4.132,0.947,4.197,1.012), (4.132,0.947,4.277,1.012), (4.212,0.947,4.347,1.012), (4.212,0.947,4.277,1.012), (4.282,0.947,4.347,1.012), (4.282,0.947,4.45,1.012), (4.385,0.947,4.52,1.012), (4.455,0.947,4.52,1.012), (4.455,0.947,4.52,1.012), (4.455,0.947,4.692,1.012), (4.627,0.947,4.692,1.012), (4.627,0.947,4.692,1.012), (4.627,0.947,4.692,1.012), (4.627,0.947,4.832,1.012), (4.767,0.947,4.832,1.012), (4.767,0.947,4.832,1.012), (4.767,0.947,4.832,1.012), (4.767,0.947,5.037,1.012), (4.972,0.947,5.037,1.012), (4.972,0.947,5.21,1.012), (5.145,0.947,5.28,1.012), (5.145,0.947,5.21,1.012), (5.145,0.947,5.21,1.012), (5.9,0.992,5.965,1.35), (0.045,1.06,0.11,1.335), (2.15,1.162,2.215,1.297), (2.89,1.222,3.025,1.287), (2.96,1.222,3.025,1.35), (2.15,1.232,2.215,1.35), (0.765,1.237,0.9,1.302), (0.835,1.237,0.9,1.35), (1.335,1.237,1.47,1.302), (1.405,1.237,1.47,1.35), (0.045,1.27,0.11,1.35), (0,1.285,6.01,1.4), (5.9,1.285,5.965,1.35), (5.9,1.285,5.965,1.35)])
R(voter_complex15_06w, boundary, [(0,0,6.01,1.4)])
voter_complex15_06w.add(gdstk.Label('A', (2.26,0.78), layer=11, texttype=0))
voter_complex15_06w.add(gdstk.Label('B', (0.89,0.82), layer=11, texttype=0))
voter_complex15_06w.add(gdstk.Label('C', (4.39,0.78), layer=11, texttype=0))
voter_complex15_06w.add(gdstk.Label('D', (5.51,0.75), layer=11, texttype=0))
voter_complex15_06w.add(gdstk.Label('Y', (4.8,0.62), layer=11, texttype=0))
voter_complex15_06w.add(gdstk.Label('VCC', (0,1.4), layer=11, texttype=0))
voter_complex15_06w.add(gdstk.Label('GND', (0,0), layer=11, texttype=0))

lib.write_gds('VOTER_COMPLEX15_06W.gds')
